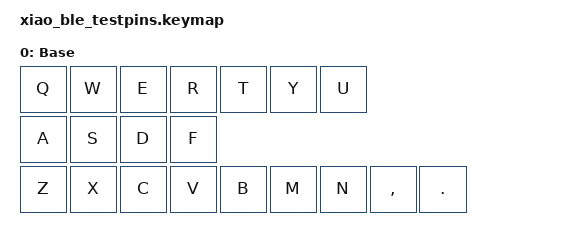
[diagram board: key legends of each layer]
/*
 * Copyright (c) 2020 The ZMK Contributors
 *
 * SPDX-License-Identifier: MIT
 */

#include <behaviors.dtsi>
#include <dt-bindings/zmk/keys.h>
#include <dt-bindings/zmk/bt.h>
#include <dt-bindings/zmk/outputs.h>




/ { 
    behaviors {
        td: tapdance {
            compatible = "zmk,behavior-hold-tap";
            label = "TAPDANCE";
            #binding-cells = <2>;
            tapping-term-ms = <190>;
            quick-tap-ms = <250>;
            flavor = "tap-preferred";
            bindings = <&kp>, <&kp>;
        };
    };

    keymap {
        compatible = "zmk,keymap";
        
        base {
            label = "Base";
            bindings = <
             &kp Q  &kp W  &kp E  &kp R  &kp T  &kp Y  &kp U
             &kp A  &kp S  &kp D  &kp F
             &kp Z  &kp X  &kp C  &kp V  &kp B  &kp M  &kp N  &kp COMMA  &kp DOT
            >;
        };
        
    };
};
